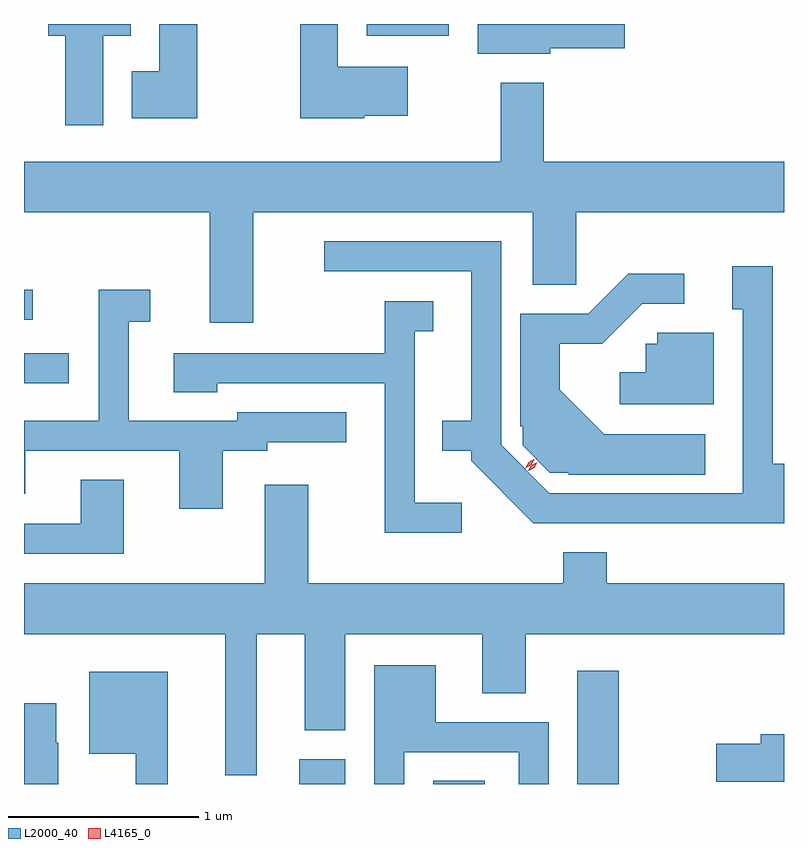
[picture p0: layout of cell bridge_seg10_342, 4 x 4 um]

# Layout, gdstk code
import gdstk
lib = gdstk.Library(unit=1e-6, precision=1e-09)
def R(c, l, rs):  # rectangles x0, y0, x1, y1
    for r in rs: c.add(gdstk.rectangle(r[:2], r[2:], *l))
def P(c, l, *ps):  # polygons
    for p in ps: c.add(gdstk.Polygon(p, *l))
L2000_40 = (2000, 40)
L4165_0 = (4165, 0)

bridge_seg10_342 = lib.new_cell('bridge_seg10_342')
R(bridge_seg10_342, L2000_40, [(1062.221,2161.968,1062.464,2162.099), (1062.926,2161.968,1063.199,2161.984), (1063.686,2161.968,1063.904,2162.564), (1060.773,2164.076,1061.008,2164.234), (1060.773,2164.411,1060.818,2164.569), (1062.576,2165.906,1063.009,2165.968)])
P(bridge_seg10_342, L2000_40, [(1061.684,2165.968),(1061.486,2165.968),(1061.486,2165.719),(1061.341,2165.719),(1061.341,2165.471),(1061.684,2165.471)],
  [(1063.544,2165.841),(1063.934,2165.841),(1063.934,2165.968),(1063.161,2165.968),(1063.161,2165.811),(1063.544,2165.811)],
  [(1062.565,2165.486),(1062.794,2165.486),(1062.794,2165.744),(1062.424,2165.744),(1062.424,2165.968),(1062.226,2165.968),(1062.226,2165.471),(1062.565,2165.471)],
  [(1061.189,2165.906),(1061.334,2165.906),(1061.334,2165.968),(1060.901,2165.968),(1060.901,2165.906),(1060.991,2165.906),(1060.991,2165.436),(1061.189,2165.436)],
  [(1061.979,2164.976),(1063.451,2164.976),(1063.451,2164.596),(1063.679,2164.596),(1063.679,2164.976),(1064.773,2164.976),(1064.773,2165.244),(1063.509,2165.244),(1063.509,2165.659),(1063.281,2165.659),(1063.281,2165.244),(1060.773,2165.244),(1060.773,2164.976),(1061.751,2164.976),(1061.751,2164.396),(1061.979,2164.396)],
  [(1064.773,2163.654),(1064.714,2163.654),(1064.714,2164.694),(1064.501,2164.694),(1064.501,2164.466),(1064.556,2164.466),(1064.556,2163.499),(1063.538,2163.499),(1063.284,2163.753),(1063.284,2164.824),(1062.353,2164.824),(1062.353,2164.666),(1063.126,2164.666),(1063.126,2163.879),(1062.973,2163.879),(1062.973,2163.721),(1063.126,2163.721),(1063.126,2163.669),(1063.454,2163.341),(1064.773,2163.341)],
  [(1064.359,2163.809),(1063.827,2163.809),(1063.594,2164.042),(1063.594,2164.286),(1063.817,2164.286),(1064.027,2164.496),(1064.248,2164.496),(1064.248,2164.654),(1063.954,2164.654),(1063.744,2164.444),(1063.386,2164.444),(1063.386,2163.85),(1063.397,2163.85),(1063.397,2163.75),(1063.54,2163.607),(1063.64,2163.607),(1063.64,2163.596),(1064.359,2163.596)],
  [(1061.819,2163.721),(1062.054,2163.721),(1062.054,2163.766),(1062.468,2163.766),(1062.468,2163.924),(1061.896,2163.924),(1061.896,2163.879),(1061.324,2163.879),(1061.324,2164.401),(1061.438,2164.401),(1061.438,2164.569),(1061.166,2164.569),(1061.166,2163.879),(1060.773,2163.879),(1060.773,2163.496),(1060.779,2163.496),(1060.779,2163.721),(1061.591,2163.721),(1061.591,2163.416),(1061.819,2163.416)],
  [(1063.078,2163.449),(1062.829,2163.449),(1062.829,2164.351),(1062.928,2164.351),(1062.928,2164.509),(1062.671,2164.509),(1062.671,2164.234),(1061.561,2164.234),(1061.561,2164.031),(1061.789,2164.031),(1061.789,2164.076),(1062.671,2164.076),(1062.671,2163.291),(1063.078,2163.291)],
  [(1064.404,2164.344),(1064.106,2164.344),(1064.106,2164.284),(1064.046,2164.284),(1064.046,2164.134),(1063.908,2164.134),(1063.908,2163.966),(1064.404,2163.966)],
  [(1061.299,2163.569),(1061.071,2163.569),(1061.071,2163.339),(1060.773,2163.339),(1060.773,2163.181),(1061.299,2163.181)],
  [(1061.999,2162.756),(1062.251,2162.756),(1062.251,2162.251),(1062.464,2162.251),(1062.464,2162.756),(1063.186,2162.756),(1063.186,2162.446),(1063.414,2162.446),(1063.414,2162.756),(1064.773,2162.756),(1064.773,2163.024),(1063.839,2163.024),(1063.839,2163.189),(1063.611,2163.189),(1063.611,2163.024),(1062.269,2163.024),(1062.269,2163.544),(1062.041,2163.544),(1062.041,2163.024),(1060.773,2163.024),(1060.773,2162.756),(1061.831,2162.756),(1061.831,2162.013),(1061.999,2162.013)],
  [(1062.774,2162.136),(1063.376,2162.136),(1063.376,2161.968),(1063.534,2161.968),(1063.534,2162.294),(1062.939,2162.294),(1062.939,2162.594),(1062.616,2162.594),(1062.616,2161.968),(1062.774,2161.968)],
  [(1061.529,2162.559),(1061.116,2162.559),(1061.116,2162.126),(1061.361,2162.126),(1061.361,2161.968),(1061.529,2161.968)],
  [(1060.954,2162.185),(1060.944,2162.185),(1060.944,2162.394),(1060.773,2162.394),(1060.773,2161.968),(1060.954,2161.968)],
  [(1064.773,2162.229),(1064.651,2162.229),(1064.651,2162.179),(1064.416,2162.179),(1064.416,2161.981),(1064.773,2161.981)])
P(bridge_seg10_342, L4165_0, [(1063.411,2163.63),(1063.411,2163.63),(1063.429,2163.662),(1063.46,2163.68),(1063.461,2163.68),(1063.461,2163.679),(1063.443,2163.648),(1063.412,2163.63)],
  [(1063.428,2163.616),(1063.428,2163.616),(1063.444,2163.646),(1063.474,2163.662),(1063.474,2163.662),(1063.474,2163.661),(1063.458,2163.632),(1063.429,2163.616)])

lib.write_gds('bridge_seg10_342.gds')
